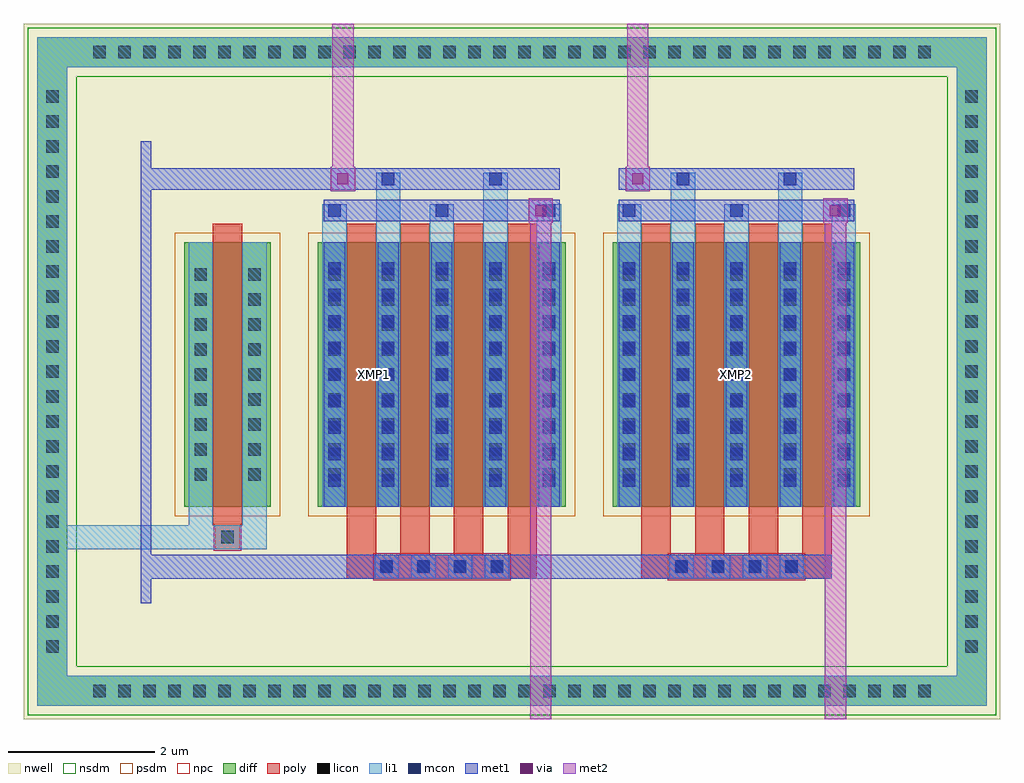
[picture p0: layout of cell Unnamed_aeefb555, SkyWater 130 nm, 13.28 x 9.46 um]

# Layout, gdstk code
import gdstk
lib = gdstk.Library(unit=1e-6, precision=1e-09)
def R(c, l, rs):  # rectangles x0, y0, x1, y1
    for r in rs: c.add(gdstk.rectangle(r[:2], r[2:], *l))
def A(c, l, x, y, w, h, nx, ny, dx, dy):  # array of equal rectangles
    R(c, l, [(x+i*dx, y+j*dy, x+i*dx+w, y+j*dy+h) for i in range(nx) for j in range(ny)])
def P(c, l, *ps):  # polygons
    for p in ps: c.add(gdstk.Polygon(p, *l))
nwell = (64, 20)
diff = (65, 20)
poly = (66, 20)
licon = (66, 44)
li1 = (67, 20)
mcon = (67, 44)
met1 = (68, 20)
via = (68, 44)
met2 = (69, 20)
nsdm = (93, 44)
psdm = (94, 20)
npc = (95, 20)

unnamed_aeefb555 = lib.new_cell('Unnamed_aeefb555')
R(unnamed_aeefb555, nwell, [(-7.69,-4.69,5.59,4.77), (-7.69,-4.69,5.59,4.77), (-5.82,-2.98,-0.01,2.985), (0.01,-2.98,4,2.985)])
A(unnamed_aeefb555, diff, -6.865, -4.51, 0.41, 0.41, 34, 2, 0.34, 8.69)
A(unnamed_aeefb555, diff, -7.51, -3.905, 0.41, 0.41, 1, 23, 0, 0.34)
A(unnamed_aeefb555, diff, 5, -3.905, 0.41, 0.41, 1, 23, 0, 0.34)
R(unnamed_aeefb555, diff, [(-6.865,-4.51,4.765,-4.1), (-7.51,-3.905,-7.1,3.985), (5,-3.905,5.41,3.985), (-5.51,-1.8,-4.33,1.8), (-3.69,-1.8,-0.32,1.8), (0.32,-1.8,3.69,1.8), (-6.865,4.18,4.765,4.59)])
P(unnamed_aeefb555, diff, [(5.41,4.59),(-7.51,4.59),(-7.51,-4.1),(-7.1,-4.1),(-7.1,4.18),(5,4.18),(5,-4.1),(-7.1,-4.1),(-7.51,-4.1),(-7.51,-4.51),(5.41,-4.51)])
A(unnamed_aeefb555, poly, -2.92, -2.78, 0.33, 0.33, 4, 1, 0.5, 0)
A(unnamed_aeefb555, poly, 1.09, -2.78, 0.33, 0.33, 4, 1, 0.5, 0)
A(unnamed_aeefb555, poly, -3.3, -2.45, 0.4, 0.4, 4, 1, 0.73, 0)
A(unnamed_aeefb555, poly, 0.71, -2.45, 0.4, 0.4, 4, 1, 0.73, 0)
A(unnamed_aeefb555, poly, -3.3, -2.05, 0.4, 4.1, 4, 1, 0.73, 0)
A(unnamed_aeefb555, poly, 0.71, -2.05, 0.4, 4.1, 4, 1, 0.73, 0)
R(unnamed_aeefb555, poly, [(-3.3,-2.78,-0.71,-2.45), (0.71,-2.78,3.3,-2.45), (-5.085,-2.38,-4.755,-2.05), (-5.085,-2.38,-4.755,-2.05), (-5.12,-2.05,-4.72,2.05)])
A(unnamed_aeefb555, licon, -6.745, -4.39, 0.17, 0.17, 34, 2, 0.34, 8.69)
A(unnamed_aeefb555, licon, -7.39, -3.785, 0.17, 0.17, 1, 23, 0, 0.34)
A(unnamed_aeefb555, licon, 5.12, -3.785, 0.17, 0.17, 1, 23, 0, 0.34)
A(unnamed_aeefb555, licon, -2.84, -2.7, 0.17, 0.17, 4, 1, 0.5, 0)
A(unnamed_aeefb555, licon, 1.17, -2.7, 0.17, 0.17, 4, 1, 0.5, 0)
A(unnamed_aeefb555, licon, -5.37, -1.445, 0.17, 0.17, 1, 9, 0, 0.34)
A(unnamed_aeefb555, licon, -4.64, -1.445, 0.17, 0.17, 1, 9, 0, 0.34)
A(unnamed_aeefb555, licon, -3.55, -1.445, 0.17, 0.17, 5, 9, 0.73, 0.34)
A(unnamed_aeefb555, licon, 0.46, -1.445, 0.17, 0.17, 5, 9, 0.73, 0.34)
R(unnamed_aeefb555, licon, [(-5.005,-2.3,-4.835,-2.13)])
A(unnamed_aeefb555, li1, -6.825, -4.47, 0.33, 0.33, 34, 2, 0.34, 8.69)
A(unnamed_aeefb555, li1, -7.47, -3.865, 0.33, 0.33, 1, 23, 0, 0.34)
A(unnamed_aeefb555, li1, 5.04, -3.865, 0.33, 0.33, 1, 23, 0, 0.34)
A(unnamed_aeefb555, li1, -2.92, -2.78, 0.33, 0.33, 4, 1, 0.5, 0)
A(unnamed_aeefb555, li1, 1.09, -2.78, 0.33, 0.33, 4, 1, 0.5, 0)
A(unnamed_aeefb555, li1, -3.63, -1.8, 0.33, 3.6, 5, 1, 0.73, 0)
A(unnamed_aeefb555, li1, 0.38, -1.8, 0.33, 3.6, 5, 1, 0.73, 0)
A(unnamed_aeefb555, li1, -5.45, -1.525, 0.33, 0.33, 1, 9, 0, 0.34)
A(unnamed_aeefb555, li1, -4.72, -1.525, 0.33, 0.33, 1, 9, 0, 0.34)
A(unnamed_aeefb555, li1, -3.63, -1.525, 0.33, 0.33, 5, 9, 0.73, 0.34)
A(unnamed_aeefb555, li1, -3.55, -1.525, 0.17, 0.17, 5, 9, 0.73, 0.36)
A(unnamed_aeefb555, li1, -3.55, -1.525, 0.17, 3.05, 5, 1, 0.73, 0)
A(unnamed_aeefb555, li1, 0.38, -1.525, 0.33, 0.33, 5, 9, 0.73, 0.34)
A(unnamed_aeefb555, li1, 0.46, -1.525, 0.17, 0.17, 5, 9, 0.73, 0.36)
A(unnamed_aeefb555, li1, 0.46, -1.525, 0.17, 3.05, 5, 1, 0.73, 0)
A(unnamed_aeefb555, li1, -3.63, 1.8, 0.33, 0.515, 3, 1, 1.46, 0)
A(unnamed_aeefb555, li1, 0.38, 1.8, 0.33, 0.515, 3, 1, 1.46, 0)
A(unnamed_aeefb555, li1, -3.55, 2.145, 0.17, 0.17, 3, 1, 1.46, 0)
A(unnamed_aeefb555, li1, 0.46, 2.145, 0.17, 0.17, 3, 1, 1.46, 0)
R(unnamed_aeefb555, li1, [(-7.51,-4.51,-7.1,-4.1), (-7.51,-4.51,-7.1,-4.1), (-7.1,-4.51,5,-4.1), (5,-4.51,5.41,-4.1), (5,-4.51,5.41,-4.1), (-7.51,-4.1,-7.1,4.18), (5,-4.1,5.41,4.18), (-7.51,-2.38,-5.085,-2.05), (-5.45,-2.38,-5.085,-2.05), (-5.45,-2.38,-5.12,-1.8), (-5.085,-2.38,-4.755,-2.05), (-4.755,-2.38,-4.39,-2.05), (-4.72,-2.38,-4.39,-1.8), (-5.45,-1.8,-5.12,1.8), (-4.72,-1.8,-4.39,1.8), (-2.9,1.8,-2.57,2.745), (-1.44,1.8,-1.11,2.745), (1.11,1.8,1.44,2.745), (2.57,1.8,2.9,2.745), (-2.82,2.575,-2.65,2.745), (-1.36,2.575,-1.19,2.745), (1.19,2.575,1.36,2.745), (2.65,2.575,2.82,2.745), (-7.51,4.18,-7.1,4.59), (-7.51,4.18,-7.1,4.59), (-7.1,4.18,5,4.59), (5,4.18,5.41,4.59), (5,4.18,5.41,4.59)])
A(unnamed_aeefb555, mcon, -2.84, -2.7, 0.17, 0.17, 4, 1, 0.5, 0)
A(unnamed_aeefb555, mcon, 1.17, -2.7, 0.17, 0.17, 4, 1, 0.5, 0)
A(unnamed_aeefb555, mcon, -3.55, -1.525, 0.17, 0.17, 5, 9, 0.73, 0.36)
A(unnamed_aeefb555, mcon, 0.46, -1.525, 0.17, 0.17, 5, 9, 0.73, 0.36)
A(unnamed_aeefb555, mcon, -3.55, 2.145, 0.17, 0.17, 3, 1, 1.46, 0)
A(unnamed_aeefb555, mcon, 0.46, 2.145, 0.17, 0.17, 3, 1, 1.46, 0)
R(unnamed_aeefb555, mcon, [(-2.82,2.575,-2.65,2.745), (-1.36,2.575,-1.19,2.745), (1.19,2.575,1.36,2.745), (2.65,2.575,2.82,2.745)])
A(unnamed_aeefb555, met1, -2.9, -2.76, 0.29, 0.29, 4, 1, 0.5, 0)
A(unnamed_aeefb555, met1, 1.11, -2.76, 0.29, 0.29, 4, 1, 0.5, 0)
A(unnamed_aeefb555, met1, -3.61, -1.8, 0.29, 3.6, 5, 1, 0.73, 0)
A(unnamed_aeefb555, met1, 0.4, -1.8, 0.29, 3.6, 5, 1, 0.73, 0)
A(unnamed_aeefb555, met1, -3.61, -1.585, 0.29, 0.29, 5, 9, 0.73, 0.36)
A(unnamed_aeefb555, met1, 0.4, -1.585, 0.29, 0.29, 5, 9, 0.73, 0.36)
A(unnamed_aeefb555, met1, -3.61, 2.085, 0.29, 0.29, 3, 1, 1.46, 0)
A(unnamed_aeefb555, met1, 0.4, 2.085, 0.29, 0.29, 3, 1, 1.46, 0)
R(unnamed_aeefb555, met1, [(-6.1,-3.11,-5.96,3.17), (-5.96,-2.78,-3.3,-2.45), (-3.3,-2.78,-0.71,-2.45), (-0.71,-2.78,0.71,-2.45), (0.71,-2.78,3.3,-2.45), (-3.61,2.085,-0.4,2.375), (0.4,2.085,3.61,2.375), (-5.96,2.515,-3.61,2.805), (-3.61,2.515,-0.4,2.805), (-2.88,2.515,-2.59,2.805), (-1.42,2.515,-1.13,2.805), (0.4,2.515,3.61,2.805), (1.13,2.515,1.42,2.805), (2.59,2.515,2.88,2.805)])
R(unnamed_aeefb555, via, [(-0.735,2.155,-0.585,2.305), (3.275,2.155,3.425,2.305), (-3.425,2.585,-3.275,2.735), (0.585,2.585,0.735,2.735)])
R(unnamed_aeefb555, met2, [(-0.805,-4.69,-0.515,2.23), (3.205,-4.69,3.495,2.23), (-0.825,2.065,-0.495,2.395), (3.185,2.065,3.515,2.395), (-3.515,2.495,-3.185,2.825), (0.495,2.495,0.825,2.825), (-3.495,2.66,-3.205,4.77), (0.515,2.66,0.805,4.77)])
P(unnamed_aeefb555, nsdm, [(5.54,4.72),(-7.64,4.72),(-7.64,-3.97),(-6.97,-3.97),(-6.97,4.05),(4.87,4.05),(4.87,-3.97),(-6.97,-3.97),(-7.64,-3.97),(-7.64,-4.64),(5.54,-4.64)])
R(unnamed_aeefb555, psdm, [(-5.64,-1.93,-4.2,1.93), (-3.82,-1.93,-0.19,1.93), (0.19,-1.93,3.82,1.93)])
A(unnamed_aeefb555, npc, -2.94, -2.8, 0.37, 0.37, 4, 1, 0.5, 0)
A(unnamed_aeefb555, npc, 1.07, -2.8, 0.37, 0.37, 4, 1, 0.5, 0)
R(unnamed_aeefb555, npc, [(-2.94,-2.8,-2.07,-2.43), (-2.94,-2.8,-2.07,-2.43), (-2.44,-2.8,-1.57,-2.43), (-2.44,-2.8,-1.57,-2.43), (-1.94,-2.8,-1.07,-2.43), (-1.94,-2.8,-1.07,-2.43), (1.07,-2.8,1.94,-2.43), (1.07,-2.8,1.94,-2.43), (1.57,-2.8,2.44,-2.43), (1.57,-2.8,2.44,-2.43), (2.07,-2.8,2.94,-2.43), (2.07,-2.8,2.94,-2.43), (-5.105,-2.4,-4.735,-2.03)])
unnamed_aeefb555.add(gdstk.Label('XMP1', (-2.915,0), layer=71, texttype=5))
unnamed_aeefb555.add(gdstk.Label('XMP2', (2.005,0), layer=71, texttype=5))

lib.write_gds('Unnamed_aeefb555.gds')
